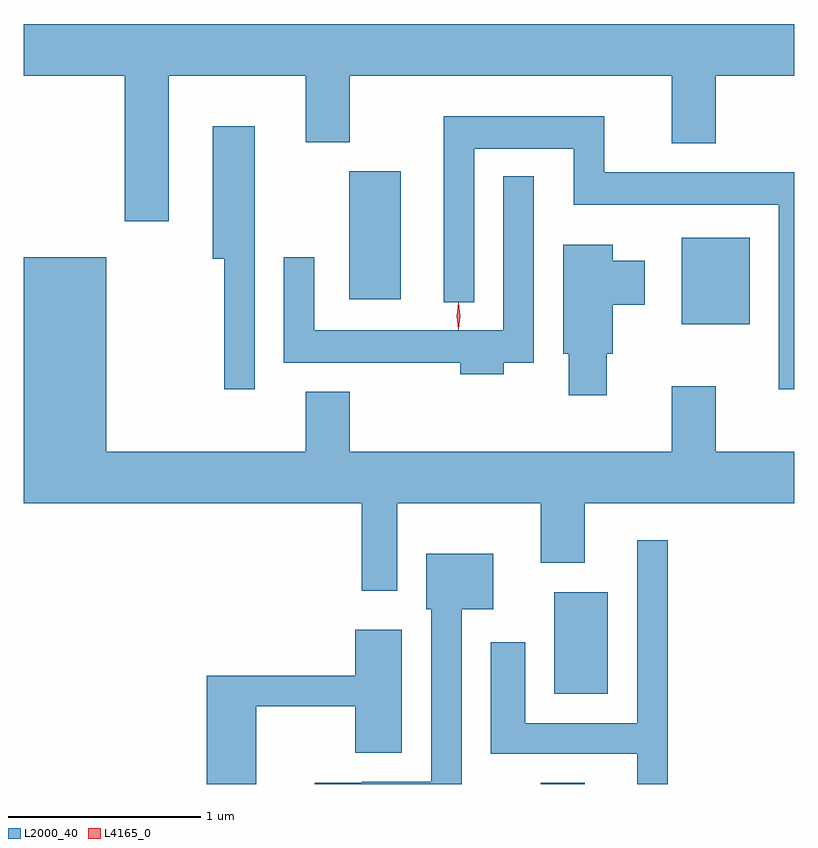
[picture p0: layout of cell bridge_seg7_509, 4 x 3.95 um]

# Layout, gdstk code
import gdstk
lib = gdstk.Library(unit=1e-6, precision=1e-09)
def R(c, l, rs):  # rectangles x0, y0, x1, y1
    for r in rs: c.add(gdstk.rectangle(r[:2], r[2:], *l))
def P(c, l, *ps):  # polygons
    for p in ps: c.add(gdstk.Polygon(p, *l))
L2000_40 = (2000, 40)
L4165_0 = (4165, 0)

bridge_seg7_509 = lib.new_cell('bridge_seg7_509')
R(bridge_seg7_509, L2000_40, [(1426.531,1670.678,1426.759,1670.684), (1426.601,1671.146,1426.879,1671.674), (1427.261,1673.066,1427.614,1673.514), (1425.536,1673.196,1425.804,1673.859)])
P(bridge_seg7_509, L2000_40, [(1424.599,1674.356),(1425.311,1674.356),(1425.311,1674.011),(1425.539,1674.011),(1425.539,1674.356),(1427.211,1674.356),(1427.211,1674.006),(1427.439,1674.006),(1427.439,1674.356),(1427.846,1674.356),(1427.846,1674.624),(1423.846,1674.624),(1423.846,1674.356),(1424.371,1674.356),(1424.371,1673.601),(1424.599,1673.601)],
  [(1427.846,1673.854),(1426.859,1673.854),(1426.859,1674.144),(1426.026,1674.144),(1426.026,1673.178),(1426.184,1673.178),(1426.184,1673.976),(1426.701,1673.976),(1426.701,1673.686),(1427.766,1673.686),(1427.766,1672.728),(1427.846,1672.728)],
  [(1425.044,1674.094),(1424.826,1674.094),(1424.826,1673.406),(1424.886,1673.406),(1424.886,1672.728),(1425.044,1672.728)],
  [(1426.339,1672.866),(1426.494,1672.866),(1426.494,1673.833),(1426.336,1673.833),(1426.336,1673.034),(1425.354,1673.034),(1425.354,1673.413),(1425.196,1673.413),(1425.196,1672.866),(1426.111,1672.866),(1426.111,1672.806),(1426.339,1672.806)],
  [(1426.874,1672.911),(1426.904,1672.911),(1426.904,1673.166),(1427.069,1673.166),(1427.069,1673.394),(1426.904,1673.394),(1426.904,1673.479),(1426.646,1673.479),(1426.646,1672.911),(1426.676,1672.911),(1426.676,1672.696),(1426.874,1672.696)],
  [(1425.784,1672.136),(1426.531,1672.136),(1426.531,1671.826),(1426.759,1671.826),(1426.759,1672.136),(1427.846,1672.136),(1427.846,1672.404),(1427.439,1672.404),(1427.439,1672.744),(1427.211,1672.744),(1427.211,1672.404),(1425.539,1672.404),(1425.539,1672.714),(1425.311,1672.714),(1425.311,1672.404),(1424.274,1672.404),(1424.274,1673.414),(1423.846,1673.414),(1423.846,1672.136),(1425.601,1672.136),(1425.601,1671.681),(1425.784,1671.681)],
  [(1427.189,1671.943),(1427.031,1671.943),(1427.031,1670.994),(1426.449,1670.994),(1426.449,1671.414),(1426.271,1671.414),(1426.271,1670.836),(1427.031,1670.836),(1427.031,1670.678),(1427.189,1670.678)],
  [(1426.119,1671.586),(1426.284,1671.586),(1426.284,1671.874),(1425.936,1671.874),(1425.936,1671.586),(1425.961,1671.586),(1425.961,1670.689),(1425.6,1670.689),(1425.6,1670.684),(1425.356,1670.684),(1425.356,1670.678),(1426.119,1670.678)],
  [(1425.054,1671.081),(1425.566,1671.081),(1425.566,1670.841),(1425.809,1670.841),(1425.809,1671.479),(1425.566,1671.479),(1425.566,1671.239),(1424.796,1671.239),(1424.796,1670.678),(1425.054,1670.678)])
P(bridge_seg7_509, L4165_0, [(1426.103,1673.037),(1426.103,1673.038),(1426.093,1673.107),(1426.103,1673.176),(1426.103,1673.176),(1426.104,1673.176),(1426.113,1673.107),(1426.104,1673.038)])

lib.write_gds('bridge_seg7_509.gds')
